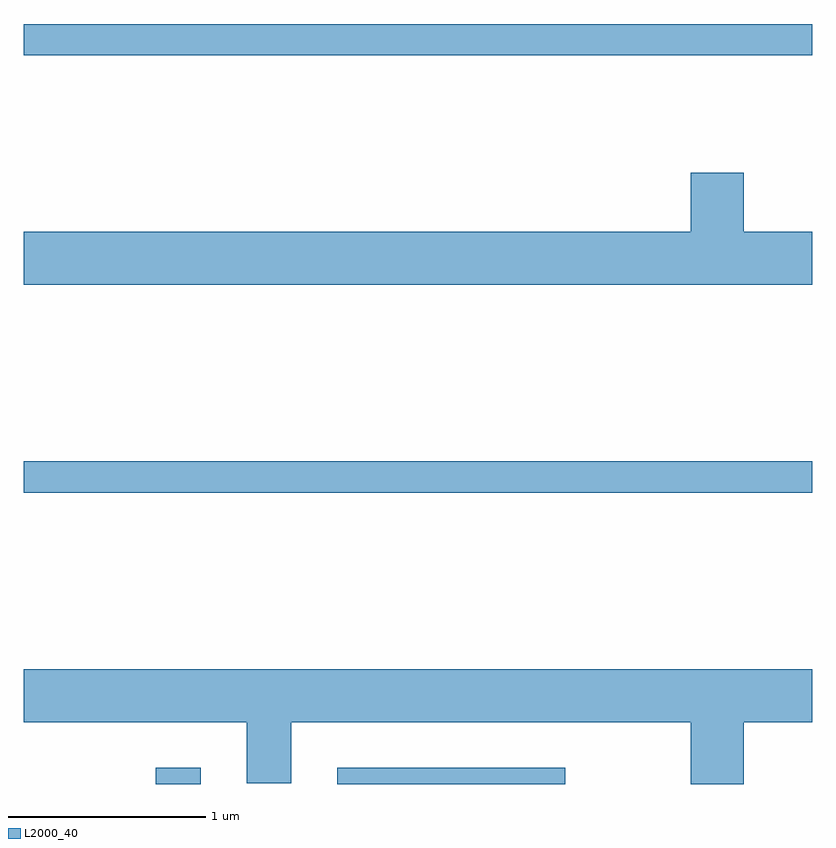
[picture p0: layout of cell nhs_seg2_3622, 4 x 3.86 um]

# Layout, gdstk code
import gdstk
lib = gdstk.Library(unit=1e-6, precision=1e-09)
def R(c, l, rs):  # rectangles x0, y0, x1, y1
    for r in rs: c.add(gdstk.rectangle(r[:2], r[2:], *l))
def P(c, l, *ps):  # polygons
    for p in ps: c.add(gdstk.Polygon(p, *l))
L2000_40 = (2000, 40)

nhs_seg2_3622 = lib.new_cell('nhs_seg2_3622')
R(nhs_seg2_3622, L2000_40, [(292.281,1025.802,292.509,1025.884), (293.201,1025.802,294.358,1025.884), (291.611,1027.281,295.611,1027.439), (291.611,1029.501,295.611,1029.659)])
P(nhs_seg2_3622, L2000_40, [(295.611,1028.604),(295.264,1028.604),(295.264,1028.904),(294.996,1028.904),(294.996,1028.604),(291.611,1028.604),(291.611,1028.336),(295.611,1028.336)],
  [(295.264,1026.116),(295.611,1026.116),(295.611,1026.384),(291.611,1026.384),(291.611,1026.116),(292.741,1026.116),(292.741,1025.806),(292.969,1025.806),(292.969,1026.116),(294.996,1026.116),(294.996,1025.802),(295.264,1025.802)])

lib.write_gds('nhs_seg2_3622.gds')
